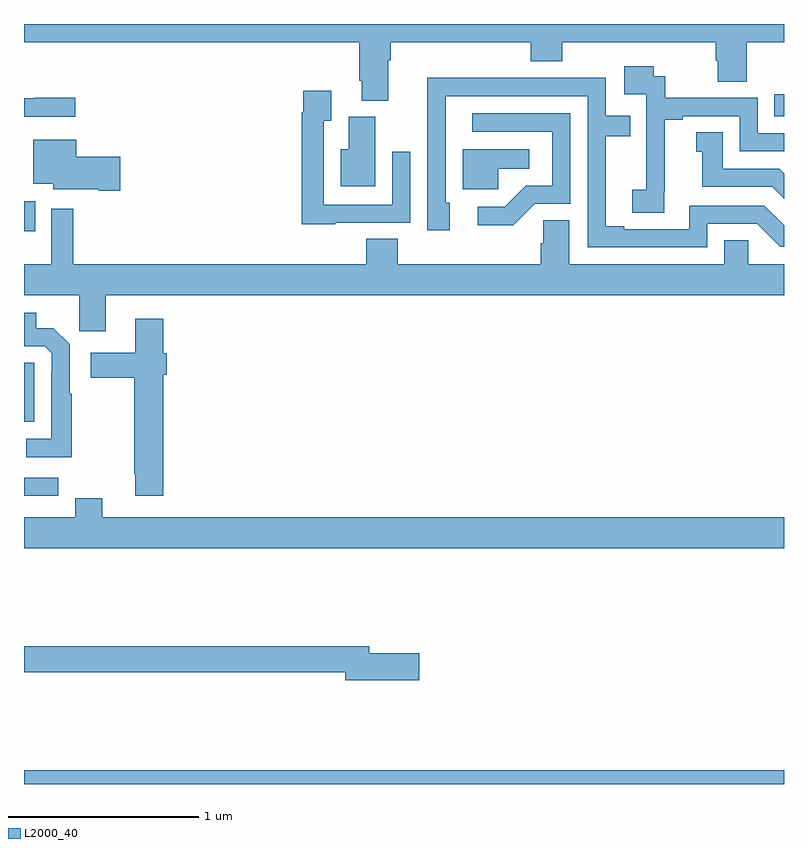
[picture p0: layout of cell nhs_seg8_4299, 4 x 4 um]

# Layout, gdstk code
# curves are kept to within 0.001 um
import gdstk
lib = gdstk.Library(unit=1e-6, precision=1e-09)
def R(c, l, rs):  # rectangles x0, y0, x1, y1
    for r in rs: c.add(gdstk.rectangle(r[:2], r[2:], *l))
def P(c, l, *ps):  # polygons
    for p in ps: c.add(gdstk.Polygon(p, *l))
L2000_40 = (2000, 40)

nhs_seg8_4299 = lib.new_cell('nhs_seg8_4299')
R(nhs_seg8_4299, L2000_40, [(373,1141.9,377,1141.972), (373,1143.417,373.18,1143.513), (373,1143.806,373.053,1144.118), (373,1144.808,373.058,1144.966), (376.948,1145.415,377,1145.53)])
P(nhs_seg8_4299, L2000_40, [(373,1145.804),(374.765,1145.804),(374.765,1145.602),(374.777,1145.602),(374.777,1145.497),(374.917,1145.497),(374.917,1145.708),(374.93,1145.708),(374.93,1145.804),(375.668,1145.804),(375.668,1145.705),(375.833,1145.705),(375.833,1145.804),(376.64,1145.804),(376.64,1145.706),(376.652,1145.706),(376.652,1145.596),(376.805,1145.596),(376.805,1145.804),(377,1145.804),(377,1145.9),(373,1145.9)],
  [(376.37,1145.017),(376.372,1145.017),(376.372,1145.395),(376.468,1145.395),(376.468,1145.415),(376.767,1145.415),(376.767,1145.229),(377,1145.229),(377,1145.325),(376.863,1145.325),(376.863,1145.511),(376.376,1145.511),(376.376,1145.625),(376.314,1145.625),(376.314,1145.677),(376.158,1145.677),(376.158,1145.529),(376.275,1145.529),(376.275,1145.225),(376.274,1145.225),(376.274,1145.028),(376.2,1145.028),(376.2,1144.906),(376.37,1144.906)],
  [(376.596,1144.848),(376.86,1144.848),(376.98,1144.728),(377,1144.728),(377,1144.84),(376.896,1144.944),(376.5,1144.944),(376.5,1144.821),(376.159,1144.821),(376.159,1144.836),(376.063,1144.836),(376.063,1145.31),(376.19,1145.31),(376.19,1145.418),(376.062,1145.418),(376.062,1145.616),(375.584,1145.616),(375.584,1145.618),(375.122,1145.618),(375.123,1144.815),(375.241,1144.815),(375.241,1144.959),(375.219,1144.959),(375.219,1145.52),(375.966,1145.52),(375.966,1144.725),(376.596,1144.725)],
  [(374.637,1144.854),(375.033,1144.854),(375.033,1145.227),(374.937,1145.227),(374.937,1144.95),(374.577,1144.95),(374.577,1145.392),(374.617,1145.392),(374.617,1145.548),(374.469,1145.548),(374.469,1145.435),(374.461,1145.435),(374.461,1144.847),(374.637,1144.847)],
  [(373.27,1145.513),(373.057,1145.513),(373.057,1145.51),(373,1145.51),(373,1145.412),(373.27,1145.412)],
  [(375.687,1144.953),(375.876,1144.953),(375.876,1145.43),(375.36,1145.43),(375.36,1145.334),(375.78,1145.334),(375.78,1145.049),(375.642,1145.049),(375.531,1144.938),(375.387,1144.938),(375.387,1144.841),(375.574,1144.841)],
  [(374.848,1145.412),(374.708,1145.412),(374.708,1145.242),(374.666,1145.242),(374.666,1145.045),(374.848,1145.045)],
  [(377,1145.113),(376.974,1145.139),(376.678,1145.139),(376.678,1145.33),(376.538,1145.33),(376.538,1145.227),(376.571,1145.227),(376.571,1145.043),(376.938,1145.043),(377,1144.981)],
  [(373.507,1145.201),(373.276,1145.201),(373.276,1145.29),(373.049,1145.29),(373.049,1145.06),(373.154,1145.06),(373.154,1145.03),(373.394,1145.03),(373.394,1145.023),(373.507,1145.023)],
  [(375.495,1145.138),(375.658,1145.138),(375.658,1145.242),(375.308,1145.242),(375.308,1145.031),(375.495,1145.031)],
  [(377,1144.636),(376.812,1144.636),(376.812,1144.763),(376.685,1144.763),(376.685,1144.636),(375.871,1144.636),(375.871,1144.868),(375.732,1144.868),(375.732,1144.745),(375.719,1144.745),(375.719,1144.636),(374.966,1144.636),(374.966,1144.769),(374.801,1144.769),(374.801,1144.636),(373.259,1144.636),(373.259,1144.927),(373.143,1144.927),(373.143,1144.636),(373,1144.636),(373,1144.472),(373.291,1144.472),(373.291,1144.284),(373.429,1144.284),(373.429,1144.472),(377,1144.472)],
  [(373.252,1143.953),(373.24,1143.953),(373.24,1144.214),(373.154,1144.3),(373.065,1144.3),(373.065,1144.38),(373,1144.38),(373,1144.203),(373.11,1144.203),(373.146,1144.167),(373.146,1144.067),(373.143,1144.067),(373.143,1143.717),(373.011,1143.717),(373.011,1143.621),(373.252,1143.621)],
  [(373.733,1144.053),(373.751,1144.053),(373.751,1144.167),(373.733,1144.167),(373.733,1144.348),(373.586,1144.348),(373.586,1144.171),(373.35,1144.171),(373.35,1144.037),(373.579,1144.037),(373.579,1143.529),(373.586,1143.529),(373.586,1143.417),(373.733,1143.417)],
  [(377,1143.304),(373.411,1143.304),(373.411,1143.403),(373.271,1143.403),(373.271,1143.304),(373,1143.304),(373,1143.14),(377,1143.14)],
  [(375.079,1142.588),(374.818,1142.588),(374.818,1142.624),(373,1142.624),(373,1142.488),(374.69,1142.488),(374.69,1142.446),(375.079,1142.446)])

lib.write_gds('nhs_seg8_4299.gds')
